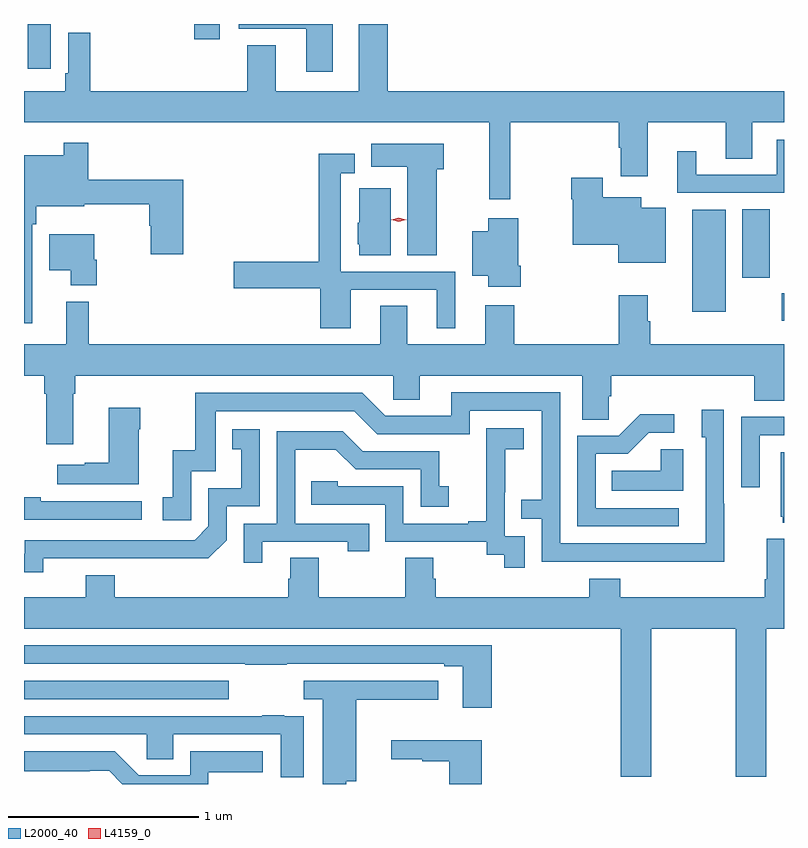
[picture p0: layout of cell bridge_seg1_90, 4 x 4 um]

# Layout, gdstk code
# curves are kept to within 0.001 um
import gdstk
lib = gdstk.Library(unit=1e-6, precision=1e-09)
def R(c, l, rs):  # rectangles x0, y0, x1, y1
    for r in rs: c.add(gdstk.rectangle(r[:2], r[2:], *l))
def P(c, l, *ps):  # polygons
    for p in ps: c.add(gdstk.Polygon(p, *l))
L2000_40 = (2000, 40)
L4159_0 = (4159, 0)

bridge_seg1_90 = lib.new_cell('bridge_seg1_90')
R(bridge_seg1_90, L2000_40, [(304.315,572.673,305.392,572.769), (308.302,574.665,308.315,574.809), (307.832,574.712,308.008,575.248), (308.096,574.89,308.239,575.252), (305.21,576.147,305.344,576.226)])
P(bridge_seg1_90, L2000_40, [(306.874,575.708),(307.445,575.708),(307.445,575.574),(307.457,575.574),(307.457,575.424),(307.597,575.424),(307.597,575.708),(308.009,575.708),(308.009,575.518),(308.149,575.518),(308.149,575.708),(308.315,575.708),(308.315,575.872),(306.23,575.872),(306.23,576.226),(306.077,576.226),(306.077,575.872),(305.641,575.872),(305.641,576.115),(305.489,576.115),(305.489,575.872),(304.664,575.872),(304.664,576.181),(304.548,576.181),(304.548,575.968),(304.533,575.968),(304.533,575.872),(304.315,575.872),(304.315,575.708),(306.763,575.708),(306.763,575.304),(306.874,575.304)],
  [(304.455,576.103),(304.456,576.103),(304.456,576.226),(304.334,576.226),(304.334,575.991),(304.455,575.991)],
  [(305.941,576.226),(305.444,576.226),(305.444,576.2),(305.801,576.2),(305.801,575.976),(305.941,575.976)],
  [(308.315,575.617),(308.276,575.617),(308.276,575.433),(307.852,575.433),(307.852,575.557),(307.754,575.557),(307.754,575.337),(308.315,575.337)],
  [(304.359,575.171),(304.379,575.171),(304.379,575.267),(304.633,575.267),(304.633,575.278),(304.975,575.278),(304.975,575.163),(304.982,575.163),(304.982,575.013),(305.153,575.013),(305.153,575.407),(304.652,575.407),(304.652,575.602),(304.524,575.602),(304.524,575.536),(304.315,575.536),(304.315,574.65),(304.359,574.65)],
  [(306.487,575.462),(306.523,575.462),(306.523,575.596),(306.142,575.596),(306.142,575.474),(306.332,575.474),(306.332,575.008),(306.487,575.008)],
  [(306.034,574.827),(306.488,574.827),(306.488,574.626),(306.586,574.626),(306.586,574.923),(305.982,574.923),(305.982,575.44),(306.057,575.44),(306.057,575.542),(305.866,575.542),(305.866,574.976),(305.418,574.976),(305.418,574.834),(305.873,574.834),(305.873,574.626),(306.034,574.626)],
  [(307.693,575.26),(307.564,575.26),(307.564,575.314),(307.36,575.314),(307.36,575.416),(307.195,575.416),(307.195,575.303),(307.202,575.303),(307.202,575.063),(307.442,575.063),(307.442,574.97),(307.693,574.97)],
  [(306.244,575.362),(306.08,575.362),(306.08,575.181),(306.071,575.181),(306.071,575.067),(306.08,575.067),(306.08,575.008),(306.244,575.008)],
  [(306.929,574.954),(306.916,574.954),(306.916,575.203),(306.758,575.203),(306.758,575.134),(306.674,575.134),(306.674,574.901),(306.758,574.901),(306.758,574.842),(306.929,574.842)],
  [(304.697,574.986),(304.684,574.986),(304.684,575.119),(304.448,575.119),(304.448,574.931),(304.562,574.931),(304.562,574.85),(304.697,574.85)],
  [(304.573,574.28),(304.586,574.28),(304.586,574.376),(306.258,574.376),(306.258,574.249),(306.397,574.249),(306.397,574.376),(307.253,574.376),(307.253,574.144),(307.392,574.144),(307.392,574.267),(307.406,574.267),(307.406,574.376),(308.159,574.376),(308.159,574.243),(308.315,574.243),(308.315,574.54),(307.61,574.54),(307.61,574.661),(307.597,574.661),(307.597,574.798),(307.445,574.798),(307.445,574.54),(306.896,574.54),(306.896,574.747),(306.743,574.747),(306.743,574.54),(306.331,574.54),(306.331,574.742),(306.191,574.742),(306.191,574.54),(304.655,574.54),(304.655,574.765),(304.538,574.765),(304.538,574.54),(304.315,574.54),(304.315,574.376),(304.421,574.376),(304.421,574.28),(304.433,574.28),(304.433,574.014),(304.573,574.014)],
  [(308.001,573.701),(307.998,573.701),(307.998,574.195),(307.883,574.195),(307.883,574.05),(307.902,574.05),(307.902,573.492),(307.137,573.492),(307.137,574.287),(306.563,574.287),(306.563,574.164),(306.216,574.164),(306.096,574.284),(305.217,574.284),(305.217,573.982),(305.099,573.982),(305.099,573.735),(305.046,573.735),(305.046,573.615),(305.196,573.615),(305.196,573.873),(305.325,573.873),(305.325,574.188),(306.054,574.188),(306.174,574.068),(306.66,574.068),(306.66,574.191),(307.041,574.191),(307.041,573.722),(306.931,573.722),(306.931,573.621),(307.041,573.621),(307.041,573.396),(308.001,573.395)],
  [(304.918,574.094),(304.926,574.094),(304.926,574.207),(304.76,574.207),(304.76,573.917),(304.634,573.917),(304.634,573.907),(304.491,573.907),(304.491,573.803),(304.918,573.803)],
  [(307.762,573.678),(307.323,573.678),(307.323,573.963),(307.492,573.963),(307.603,574.074),(307.738,574.074),(307.738,574.172),(307.559,574.172),(307.446,574.059),(307.227,574.059),(307.227,573.582),(307.762,573.582)],
  [(308.187,574.062),(308.315,574.062),(308.315,574.158),(308.091,574.158),(308.091,573.789),(308.187,573.789)],
  [(306.951,573.531),(306.846,573.531),(306.846,573.761),(306.848,573.761),(306.848,573.989),(306.946,573.989),(306.946,574.099),(306.748,574.099),(306.748,573.893),(306.749,573.893),(306.749,573.61),(306.653,573.61),(306.653,573.597),(306.312,573.597),(306.312,573.792),(305.967,573.792),(305.967,573.819),(305.827,573.819),(305.827,573.696),(306.216,573.696),(306.216,573.501),(306.75,573.501),(306.75,573.433),(306.843,573.433),(306.843,573.363),(306.951,573.363)],
  [(304.416,573.414),(305.284,573.413),(305.382,573.51),(305.382,573.687),(305.556,573.687),(305.556,574.093),(305.41,574.093),(305.41,573.987),(305.459,573.987),(305.459,573.783),(305.286,573.783),(305.286,573.582),(305.214,573.51),(304.32,573.51),(304.32,573.438),(304.315,573.438),(304.315,573.341),(304.416,573.341)],
  [(305.569,573.501),(306.02,573.501),(306.02,573.45),(306.131,573.45),(306.131,573.597),(305.742,573.597),(305.742,573.986),(305.956,573.986),(306.06,573.882),(306.402,573.882),(306.402,573.684),(306.55,573.684),(306.55,573.793),(306.501,573.793),(306.501,573.978),(306.097,573.978),(305.992,574.083),(305.646,574.083),(305.646,573.597),(305.472,573.597),(305.472,573.39),(305.569,573.39)],
  [(307.786,573.989),(307.665,573.989),(307.665,573.874),(307.408,573.874),(307.408,573.77),(307.786,573.77)],
  [(308.315,573.973),(308.297,573.973),(308.297,573.633),(308.309,573.633),(308.309,573.602),(308.315,573.602)],
  [(304.936,573.714),(304.403,573.714),(304.403,573.734),(304.315,573.734),(304.315,573.618),(304.936,573.618)],
  [(307.617,573.044),(308.062,573.044),(308.062,572.265),(308.222,572.265),(308.222,573.044),(308.315,573.044),(308.315,573.517),(308.225,573.517),(308.225,573.304),(308.213,573.304),(308.213,573.208),(307.454,573.208),(307.454,573.307),(307.289,573.307),(307.289,573.208),(306.482,573.208),(306.482,573.306),(306.469,573.306),(306.469,573.416),(306.322,573.416),(306.322,573.208),(305.865,573.208),(305.865,573.416),(305.717,573.416),(305.717,573.306),(305.705,573.306),(305.705,573.208),(304.793,573.208),(304.793,573.325),(304.64,573.325),(304.64,573.208),(304.315,573.208),(304.315,573.044),(307.457,573.044),(307.457,572.265),(307.617,572.265)],
  [(306.776,572.955),(304.315,572.955),(304.315,572.859),(305.479,572.859),(305.479,572.854),(305.699,572.854),(305.699,572.859),(306.527,572.859),(306.527,572.847),(306.623,572.847),(306.623,572.628),(306.776,572.628)],
  [(306.01,572.24),(306.064,572.24),(306.064,572.669),(306.496,572.669),(306.496,572.77),(306.06,572.77),(306.06,572.769),(305.787,572.769),(305.787,572.673),(305.888,572.673),(305.888,572.226),(306.01,572.226)],
  [(305.788,572.583),(305.684,572.583),(305.684,572.588),(305.57,572.588),(305.57,572.583),(304.315,572.583),(304.315,572.487),(304.962,572.487),(304.962,572.356),(305.101,572.356),(305.101,572.487),(305.666,572.487),(305.666,572.262),(305.788,572.262)],
  [(306.725,572.456),(306.249,572.456),(306.249,572.357),(306.41,572.357),(306.41,572.346),(306.554,572.346),(306.554,572.226),(306.725,572.226)],
  [(305.286,572.288),(305.572,572.288),(305.572,572.398),(305.19,572.398),(305.19,572.271),(304.919,572.271),(304.792,572.398),(304.315,572.398),(304.315,572.294),(304.764,572.295),(304.833,572.226),(305.286,572.226)])
P(bridge_seg1_90, L4159_0, [(306.288,575.186),(306.248,575.196),(306.248,575.196),(306.248,575.196),(306.288,575.206),(306.328,575.196),(306.328,575.196),(306.328,575.196)])

lib.write_gds('bridge_seg1_90.gds')
